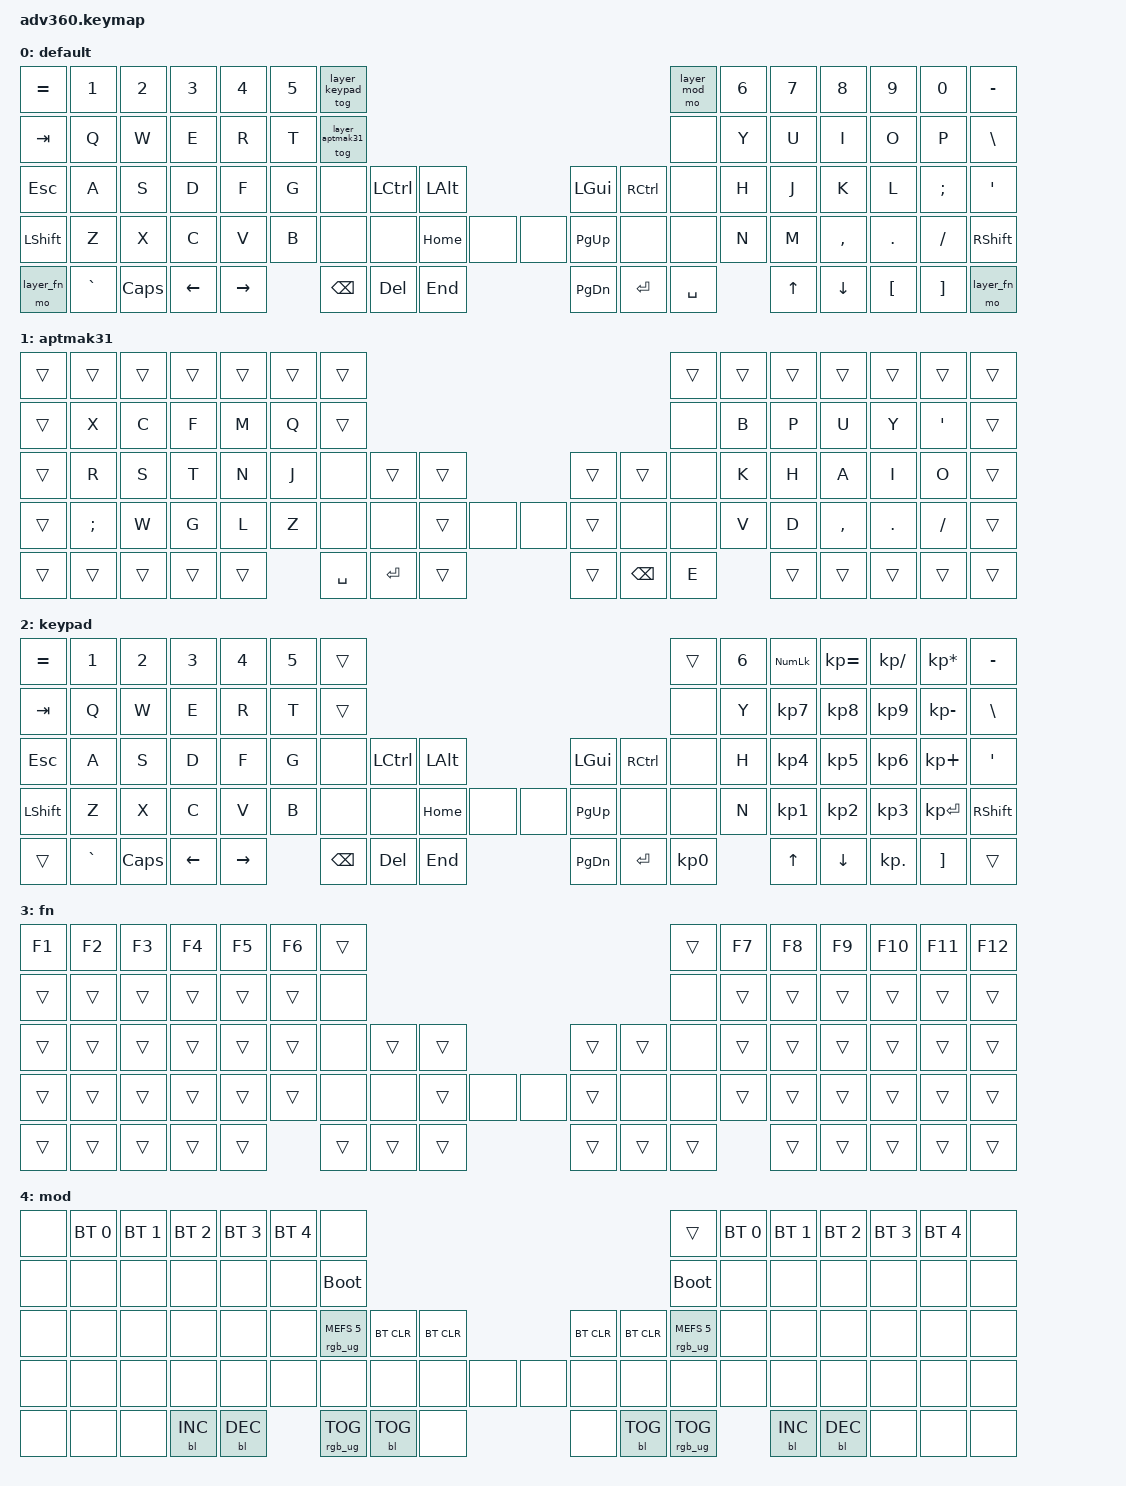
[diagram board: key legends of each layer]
#include <behaviors.dtsi>
#include <dt-bindings/zmk/keys.h>
#include <dt-bindings/zmk/bt.h>
#include <dt-bindings/zmk/rgb.h>
#include <dt-bindings/zmk/backlight.h>

#define layer_default    0
#define layer_aptmak31   1
#define layer_keypad     2
#define layer_fn         3
#define layer_mod        4



/ {
    behaviors {
      #include "macros.dtsi"

      hm: homerow_mods {
          compatible = "zmk,behavior-hold-tap";
          label = "HOMEROW_MODS";
          #binding-cells = <2>;
          tapping-term-ms = <200>;
          quick_tap_ms = <175>;
          flavor = "tap-preferred";
          bindings = <&kp>, <&kp>;
      };
    };

  keymap {
    compatible = "zmk,keymap";

    default {
      bindings = <
        &kp EQUAL     &kp N1    &kp N2   &kp N3   &kp N4     &kp N5 &tog layer_keypad                                                            &mo layer_mod &kp N6 &kp N7 &kp N8    &kp N9   &kp N0   &kp MINUS
        &kp TAB       &kp Q     &kp W    &kp E    &kp R      &kp T  &tog layer_aptmak31                                                          &none         &kp Y  &kp U  &kp I     &kp O    &kp P    &kp BSLH
        &kp ESC       &kp A     &kp S    &kp D    &kp F      &kp G  &none           &kp LCTRL &kp LALT             &kp LGUI  &kp RCTRL           &none         &kp H  &kp J  &kp K     &kp L    &kp SEMI &kp SQT
        &kp LSHFT     &kp Z     &kp X    &kp C    &kp V      &kp B         &none    &none     &kp HOME &none &none &kp PG_UP &none     &none                   &kp N  &kp M  &kp COMMA &kp DOT  &kp FSLH &kp RSHFT
        &mo layer_fn  &kp GRAVE &kp CAPS &kp LEFT &kp RIGHT                &kp BSPC &kp DEL   &kp END              &kp PG_DN &kp ENTER &kp SPACE                      &kp UP &kp DOWN  &kp LBKT &kp RBKT &mo layer_fn
      >;
    };
    aptmak31 {
      bindings = <
        &trans &trans    &trans &trans &trans &trans  &trans                                                               &trans &trans &trans &trans    &trans  &trans   &trans
        &trans &kp X     &kp C  &kp F  &kp M  &kp Q   &trans                                                               &none  &kp B  &kp P  &kp U     &kp Y   &kp SQT  &trans
        &trans &kp R     &kp S  &kp T  &kp N  &kp J   &none            &trans    &trans             &trans &trans          &none  &kp K  &kp H  &kp A     &kp I   &kp O    &trans
        &trans &kp SEMI  &kp W  &kp G  &kp L  &kp Z         &none      &none     &trans &none &none &trans &none    &none         &kp V  &kp D  &kp COMMA &kp DOT &kp FSLH &trans
        &trans &trans    &trans &trans &trans               &kp SPACE  &kp ENTER &trans             &trans &kp BSPC &kp E                &trans &trans    &trans  &trans   &trans
      >;
    };
    keypad {
      bindings = <
        &kp EQUAL &kp N1    &kp N2   &kp N3   &kp N4     &kp N5 &trans                                                                       &trans &kp N6 &kp KP_NUM &kp KP_EQUAL &kp KP_DIVIDE &kp KP_MULTIPLY &kp MINUS
        &kp TAB   &kp Q     &kp W    &kp E    &kp R      &kp T  &trans                                                                       &none  &kp Y  &kp KP_N7  &kp KP_N8    &kp KP_N9     &kp KP_MINUS    &kp BSLH
        &kp ESC   &kp A     &kp S    &kp D    &kp F      &kp G  &none           &kp LCTRL &kp LALT             &kp LGUI  &kp RCTRL           &none  &kp H  &kp KP_N4  &kp KP_N5    &kp KP_N6     &kp KP_PLUS     &kp SQT
        &kp LSHFT &kp Z     &kp X    &kp C    &kp V      &kp B         &none    &none     &kp HOME &none &none &kp PG_UP &none     &none            &kp N  &kp KP_N1  &kp KP_N2    &kp KP_N3     &kp KP_ENTER    &kp RSHFT
        &trans    &kp GRAVE &kp CAPS &kp LEFT &kp RIGHT                &kp BSPC &kp DEL   &kp END              &kp PG_DN &kp ENTER &kp KP_N0               &kp UP     &kp DOWN     &kp KP_DOT    &kp RBKT        &trans
      >;
    };
    fn {
      bindings = <
        &kp F1 &kp F2 &kp F3 &kp F4 &kp F5 &kp F6  &trans                                                      &trans &kp F7 &kp F8 &kp F9 &kp F10 &kp F11 &kp F12
        &trans &trans &trans &trans &trans &trans  &none                                                       &none  &trans &trans &trans &trans  &trans  &trans
        &trans &trans &trans &trans &trans &trans  &none        &trans &trans             &trans &trans        &none  &trans &trans &trans &trans  &trans  &trans
        &trans &trans &trans &trans &trans &trans        &none  &none  &trans &none &none &trans &none  &none         &trans &trans &trans &trans  &trans  &trans
        &trans &trans &trans &trans &trans               &trans &trans &trans             &trans &trans &trans               &trans &trans &trans  &trans  &trans
      >;
    };
    mod {
      bindings = <
        &none &bt BT_SEL 0 &bt BT_SEL 1 &bt BT_SEL 2 &bt BT_SEL 3 &bt BT_SEL 4 &none                                                                                                          &trans                 &bt BT_SEL 0 &bt BT_SEL 1 &bt BT_SEL 2 &bt BT_SEL 3 &bt BT_SEL 4 &none
        &none &none        &none        &none        &none        &none        &bootloader                                                                                                    &bootloader            &none        &none        &none        &none        &none        &none
        &none &none        &none        &none        &none        &none        &rgb_ug RGB_MEFS_CMD 5                 &bt BT_CLR &bt BT_CLR             &bt BT_CLR &bt BT_CLR                 &rgb_ug RGB_MEFS_CMD 5 &none        &none        &none        &none        &none        &none
        &none &none        &none        &none        &none        &none                               &none           &none      &none      &none &none &none      &none      &none                                  &none        &none        &none        &none        &none        &none
        &none &none        &none        &bl BL_INC   &bl BL_DEC                                       &rgb_ug RGB_TOG &bl BL_TOG &none                  &none      &bl BL_TOG &rgb_ug RGB_TOG                                     &bl BL_INC   &bl BL_DEC   &none        &none        &none
      >;
    };
  };
};
